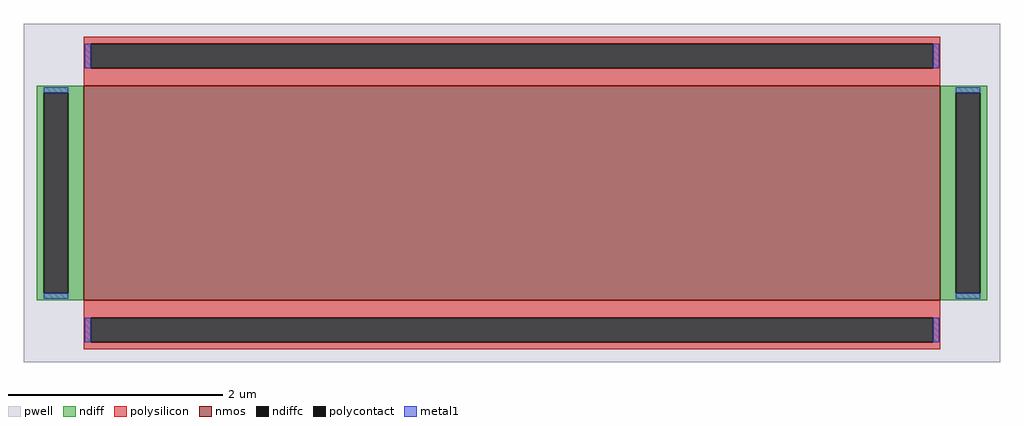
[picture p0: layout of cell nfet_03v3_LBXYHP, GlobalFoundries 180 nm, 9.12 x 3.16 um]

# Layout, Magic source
magic
tech gf180mcuD
magscale 1 10
<< pwell >>
rect -912 -316 912 316
<< nmos >>
rect -800 -200 800 200
<< ndiff >>
rect -888 187 -800 200
rect -888 -187 -875 187
rect -829 -187 -800 187
rect -888 -200 -800 -187
rect 800 187 888 200
rect 800 -187 829 187
rect 875 -187 888 187
rect 800 -200 888 -187
<< ndiffc >>
rect -875 -187 -829 187
rect 829 -187 875 187
<< polysilicon >>
rect -800 279 800 292
rect -800 233 -787 279
rect 787 233 800 279
rect -800 200 800 233
rect -800 -233 800 -200
rect -800 -279 -787 -233
rect 787 -279 800 -233
rect -800 -292 800 -279
<< polycontact >>
rect -787 233 787 279
rect -787 -279 787 -233
<< metal1 >>
rect -798 233 -787 279
rect 787 233 798 279
rect -875 187 -829 198
rect -875 -198 -829 -187
rect 829 187 875 198
rect 829 -198 875 -187
rect -798 -279 -787 -233
rect 787 -279 798 -233
<< properties >>
string gencell nfet_03v3
string library gf180mcu
string parameters w 2 l 8 m 1 nf 1 diffcov 100 polycov 100 guard 0 glc 0 grc 0 gtc 0 gbc 0 tbcov 100 rlcov 100 topc 1 botc 1 poverlap 0 doverlap 1 lmin 0.28 wmin 0.22 class mosfet full_metal 0 compatible {nfet_03v3 nfet_05v0 nfet_06v0 nfet_06v0_nvt}
<< end >>
